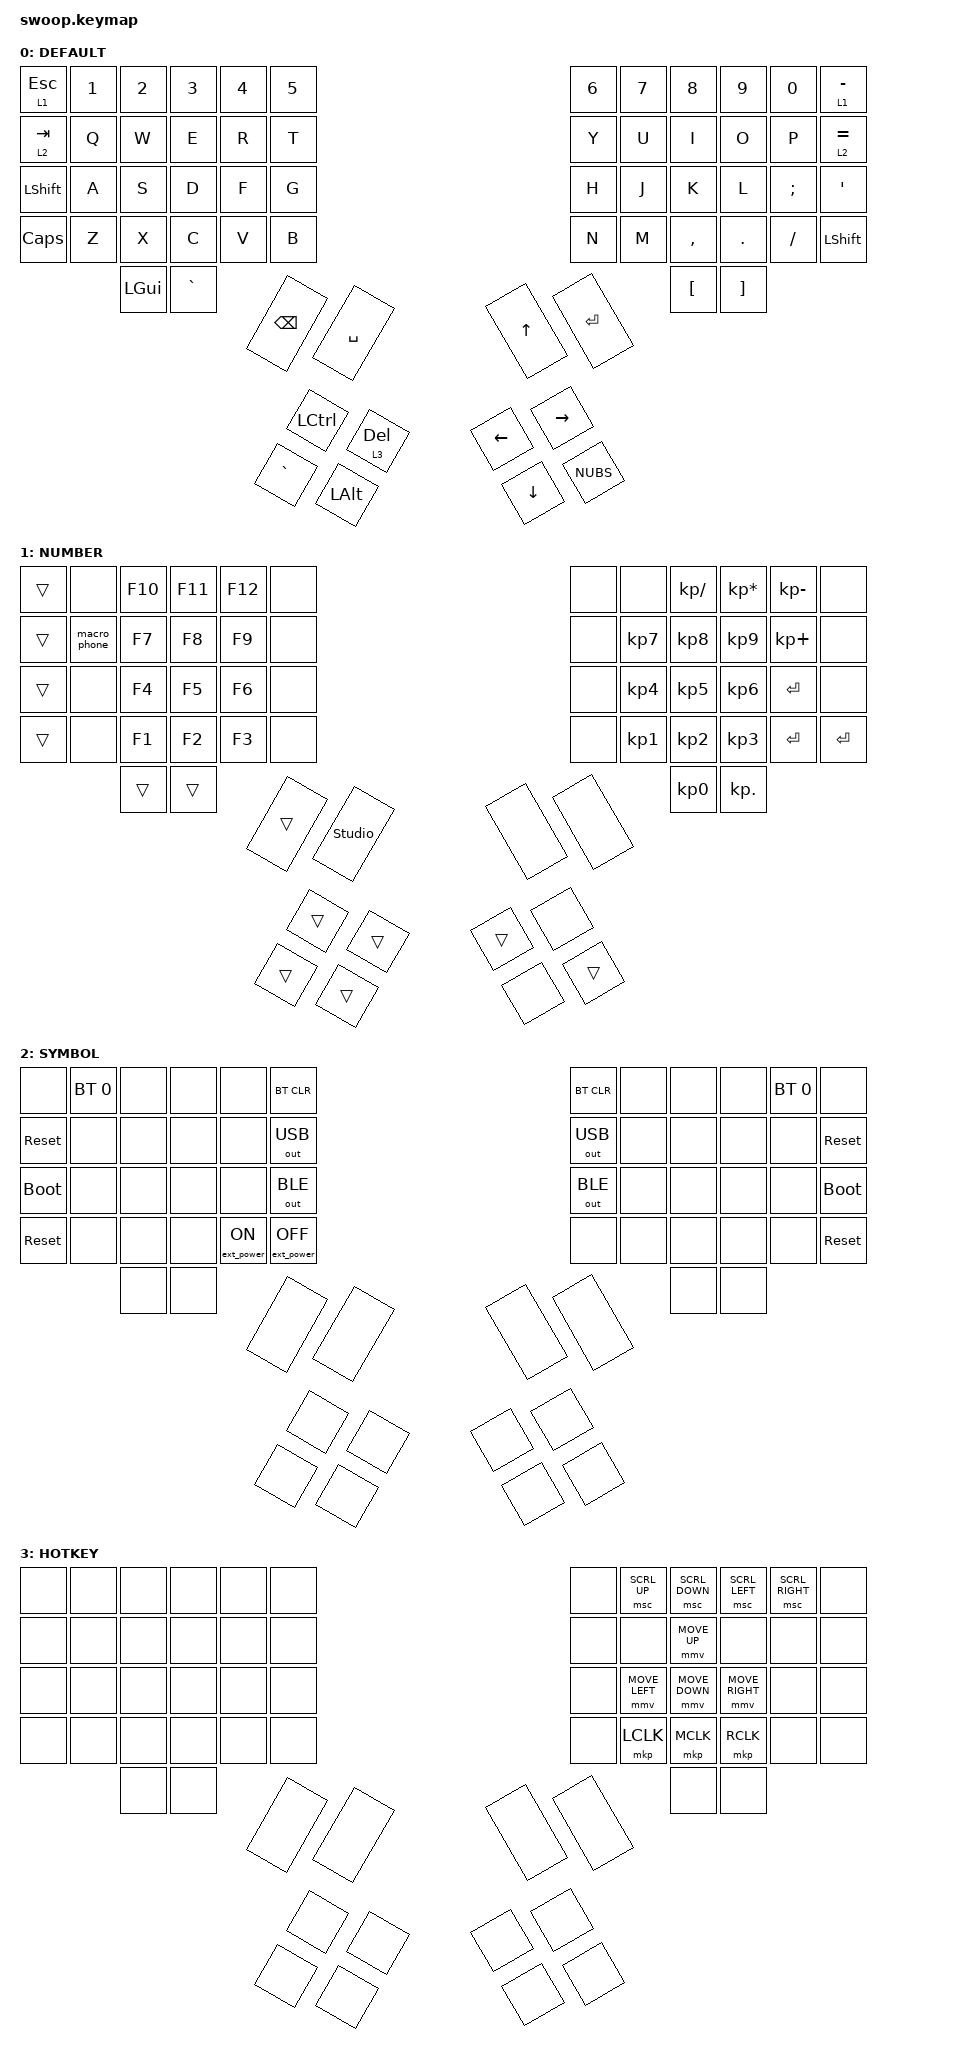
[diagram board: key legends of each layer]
#define ZMK_POINTING_DEFAULT_MOVE_VAL 600  // default: 600
#define ZMK_POINTING_DEFAULT_SCRL_VAL 10    // default: 10

#include <behaviors.dtsi>
#include <dt-bindings/zmk/bt.h>
#include <dt-bindings/zmk/ext_power.h>
#include <dt-bindings/zmk/keys.h>
#include <dt-bindings/zmk/outputs.h>
#include <dt-bindings/zmk/pointing.h>
#include <dt-bindings/zmk/pointing.h>
#include <dt-bindings/zmk/pointing.h>

#define DEFAULT 0
#define NUMBER  1
#define SYMBOL  2
#define HOTKEY  3

#define AS(keycode) &as LS(keycode) keycode

&lt {
    quick-tap-ms = <180>;
    flavor = "tap-preferred";
};

/ {
    behaviors {
        td0: tap_dance_0 {
            compatible = "zmk,behavior-tap-dance";
            label = "TAP_DANCE_0";
            #binding-cells = <0>;
            tapping-term-ms = <200>;
            bindings = <&kp ESC>, <&kp TAB>;
        };
    };

    behaviors {
        as: auto_shift {
            compatible = "zmk,behavior-hold-tap";
            label = "AUTO_SHIFT";
            #binding-cells = <2>;
            tapping-term-ms = <200>;
            quick-tap-ms = <0>;
            flavor = "tap-preferred";
            bindings = <&kp>, <&kp>;
        };

        modcp: mod_copy {
            compatible = "zmk,behavior-mod-morph";
            label = "MOD_COPY";
            #binding-cells = <0>;
            bindings = <&as LS(C) C>, <&kp C>;

            mods = <(LGUI | RGUI)>;
        };
    };

    macros {
        macro_phone: macro_phone {
            // 1351

            label = "MACRO_PHONE";
            compatible = "zmk,behavior-macro";
            #binding-cells = <0>;
            bindings = <&kp N1 &kp N3 &kp N5 &kp N1>;
        };
    };

    keymap {
        compatible = "zmk,keymap";

        default_layer {
            label = "DEFAULT";
            bindings = <
&lt 1 ESC  &kp N1  &kp N2     &kp N3     &kp N4     &kp N5     &kp N6    &kp N7     &kp N8     &kp N9    &kp N0    &lt 1 MINUS
&lt 2 TAB  &kp Q   &kp W      &kp E      &kp R      &kp T      &kp Y     &kp U      &kp I      &kp O     &kp P     &lt 2 EQUAL
&kp LSHFT  &kp A   &kp S      &kp D      &kp F      &kp G      &kp H     &kp J      &kp K      &kp L     &kp SEMI  &kp SQT
&kp CAPS   &kp Z   &kp X      &kp C      &kp V      &kp B      &kp N     &kp M      &kp COMMA  &kp DOT   &kp FSLH  &kp LSHFT
                   &kp LGUI   &kp GRAVE  &kp BSPC   &kp SPACE  &kp UP    &kp ENTER  &kp LBKT   &kp RBKT
                   &kp GRAVE  &kp LALT   &kp LCTRL  &lt 3 DEL  &kp LEFT  &kp RIGHT  &kp DOWN   &kp NUBS
            >;
        };

        number_layer {
            label = "NUMBER";
            bindings = <
&trans  &none         &kp F10  &kp F11  &kp F12  &none           &none   &none      &kp KP_SLASH  &kp KP_MULTIPLY  &kp KP_MINUS  &none
&trans  &macro_phone  &kp F7   &kp F8   &kp F9   &none           &none   &kp KP_N7  &kp KP_N8     &kp KP_N9        &kp KP_PLUS   &none
&trans  &none         &kp F4   &kp F5   &kp F6   &none           &none   &kp KP_N4  &kp KP_N5     &kp KP_N6        &kp ENTER     &none
&trans  &none         &kp F1   &kp F2   &kp F3   &none           &none   &kp KP_N1  &kp KP_N2     &kp KP_N3        &kp ENTER     &kp ENTER
                      &trans   &trans   &trans   &studio_unlock  &none   &none      &kp KP_N0     &kp KP_DOT
                      &trans   &trans   &trans   &trans          &trans  &none      &none         &trans
            >;
        };

        symbol_layer {
            label = "SYMBOL";
            bindings = <
&none        &bt BT_SEL 0  &none  &none  &none             &bt BT_CLR         &bt BT_CLR    &none  &none  &none  &bt BT_SEL 0  &none
&sys_reset   &none         &none  &none  &none             &out OUT_USB       &out OUT_USB  &none  &none  &none  &none         &sys_reset
&bootloader  &none         &none  &none  &none             &out OUT_BLE       &out OUT_BLE  &none  &none  &none  &none         &bootloader
&sys_reset   &none         &none  &none  &ext_power EP_ON  &ext_power EP_OFF  &none         &none  &none  &none  &none         &sys_reset
                           &none  &none  &none             &none              &none         &none  &none  &none
                           &none  &none  &none             &none              &none         &none  &none  &none
            >;
        };

        hotkey_layer {
            label = "HOTKEY";
            bindings = <
&none  &none  &none  &none  &none  &none  &none  &msc SCRL_UP    &msc SCRL_DOWN  &msc SCRL_LEFT   &msc SCRL_RIGHT  &none
&none  &none  &none  &none  &none  &none  &none  &none           &mmv MOVE_UP    &none            &none            &none
&none  &none  &none  &none  &none  &none  &none  &mmv MOVE_LEFT  &mmv MOVE_DOWN  &mmv MOVE_RIGHT  &none            &none
&none  &none  &none  &none  &none  &none  &none  &mkp LCLK       &mkp MCLK       &mkp RCLK        &none            &none
              &none  &none  &none  &none  &none  &none           &none           &none
              &none  &none  &none  &none  &none  &none           &none           &none
            >;
        };
    };
};
